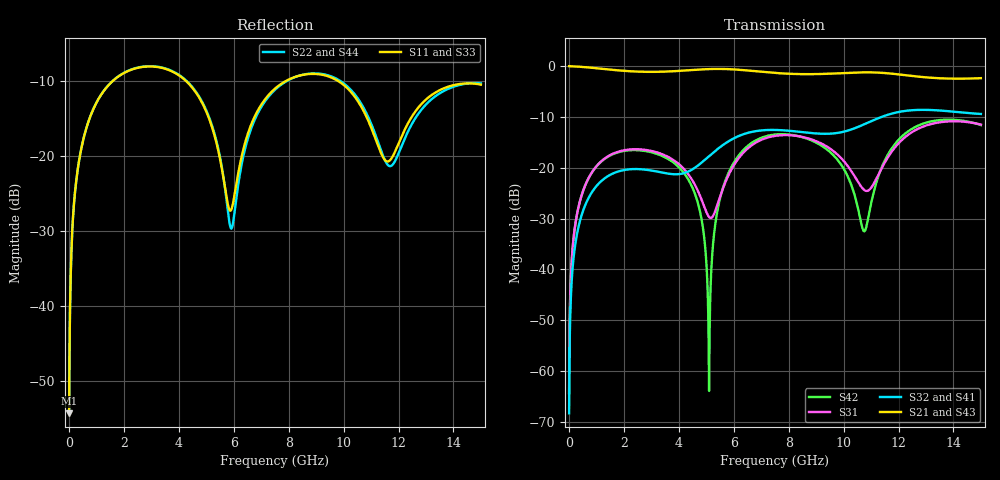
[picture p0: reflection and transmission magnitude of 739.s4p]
! Created with skrf 1.8.0 (http://scikit-rf.org).
# GHz S RI R 50.0
!freq ReS11 ImS11 ReS12 ImS12 ReS13 ImS13
! ReS14 ImS14
! ReS21 ImS21 ReS22 ImS22 ReS23 ImS23
! ReS24 ImS24
! ReS31 ImS31 ReS32 ImS32 ReS33 ImS33
! ReS34 ImS34
! ReS41 ImS41 ReS42 ImS42 ReS43 ImS43
! ReS44 ImS44
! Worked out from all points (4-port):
!   2499 points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, 5 MHz to 15 GHz, reference 50 ohm
!   strongest paths, dB at 5 MHz, 3.476 GHz, 7.19 GHz, 11.1 GHz, 15 GHz:
!     S21: 0.0, -1.1, -1.2, -1.2, -2.4
!     S43: 0.0, -1.1, -1.2, -1.3, -2.4
!     S32: -68.3, -21.0, -12.6, -10.6, -9.4
!     S41: -68.3, -21.0, -12.6, -10.6, -9.4
!     S31: -64.3, -17.5, -14.1, -23.1, -11.5
!     S42: -64.3, -17.9, -13.8, -24.8, -11.6
!   lowest |S11| = -54.3 dB at 5 MHz (marker M1), VSWR 1.00, Z = 50.2 + j0.117 ohm
!   |S11| at or under -10 dB: start of sweep to 1.597 GHz; 4.26 GHz to 7.906 GHz (3.646 GHz wide, 59.9 % of centre); 9.797 GHz to end of sweep
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0.005  0.00153 0.00116  0.9984 -0.00297  7.63e-05 0.000602  -7.41e-05 -0.000378
       0.9984 -0.00297  0.00153 0.00116  -7.41e-05 -0.000378  7.62e-05 0.000602
       7.63e-05 0.000602  -7.41e-05 -0.000378  0.00153 0.00116  0.9984 -0.00297
       -7.41e-05 -0.000378  7.62e-05 0.000602  0.9984 -0.00297  0.00153 0.00116
0.3126303  0.0213 0.0769  0.9709 -0.1855  0.00978 0.0359  -0.00802 -0.0224
           0.9709 -0.1855  0.0214 0.0769  -0.00802 -0.0224  0.00944 0.036
           0.00978 0.0359  -0.00802 -0.0224  0.0213 0.0769  0.9709 -0.1855
           -0.00802 -0.0224  0.00944 0.036  0.9709 -0.1855  0.0214 0.0769
1.469362  0.2321 0.1903  0.6269 -0.68  0.1138 0.0669  -0.0823 -0.0186
          0.6269 -0.68  0.2334 0.1896  -0.0823 -0.0186  0.1094 0.0718
          0.1138 0.0669  -0.0823 -0.0186  0.2321 0.1903  0.6269 -0.68
          -0.0823 -0.0186  0.1094 0.0718  0.6269 -0.68  0.2335 0.1896
5.102126  0.1027 -0.1444  -0.819 -0.4506  -0.0279 -0.0173  -0.0591 0.1159
          -0.819 -0.4506  0.0962 -0.1533  -0.0588 0.116  0.000562 0.000303
          -0.0279 -0.0173  -0.0588 0.116  0.1029 -0.1453  -0.8188 -0.4505
          -0.0591 0.1159  0.000562 0.000303  -0.8188 -0.4505  0.0969 -0.154
6.127553  0.0544 0.0447  -0.92 0.0743  0.0145 0.1182  0.027 0.2003
          -0.92 0.0743  0.0424 0.0395  0.0275 0.2004  0.0421 0.1193
          0.0145 0.1182  0.0275 0.2004  0.0537 0.0441  -0.92 0.0746
          0.027 0.2003  0.0421 0.1193  -0.92 0.0746  0.0432 0.0388
9.347645  0.3358 -0.0714  0.0969 0.8336  0.1275 -0.1036  0.1983 -0.0835
          0.0969 0.8336  0.3405 -0.0711  0.1984 -0.0851  0.1319 -0.0811
          0.1275 -0.1036  0.1984 -0.0851  0.3392 -0.0703  0.0978 0.8321
          0.1983 -0.0835  0.1319 -0.0811  0.0978 0.8321  0.3438 -0.0743
15  0.2902 -0.0696  0.1123 -0.7529  0.2476 -0.097  -0.3342 0.0511
    0.1123 -0.7529  0.2981 -0.062  -0.334 0.0538  0.2533 -0.0705
    0.2476 -0.097  -0.334 0.0538  0.2874 -0.0735  0.1072 -0.754
    -0.3342 0.0511  0.2533 -0.0705  0.1072 -0.754  0.2967 -0.0631
